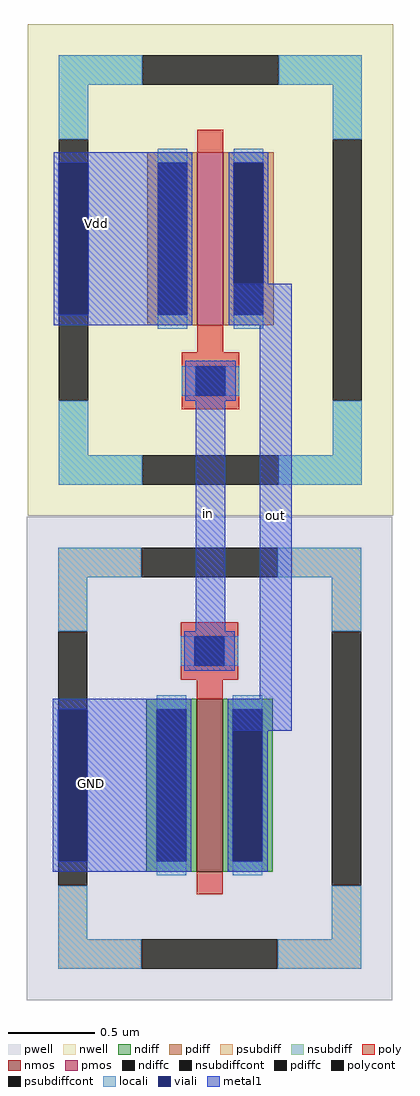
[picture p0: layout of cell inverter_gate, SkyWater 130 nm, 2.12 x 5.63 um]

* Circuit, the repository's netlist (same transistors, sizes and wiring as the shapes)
** sch_path: /home/bagatraya/icpolytron/ringoscilator/inverter_gate.sch
.subckt inverter_gate Vdd in out GND
*.PININFO in:I out:O Vdd:I GND:I
XM1 out in GND GND sky130_fd_pr__nfet_01v8 L=0.15 W=1 nf=1 m=1
XM2 out in Vdd Vdd sky130_fd_pr__pfet_01v8 L=0.15 W=1 nf=1 m=1
.ends
.end

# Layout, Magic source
magic
tech sky130A
magscale 1 2
<< viali >>
rect -18 800 16 976
rect -19 169 15 345
<< metal1 >>
rect -24 976 130 988
rect -24 800 -18 976
rect 16 800 130 976
rect -24 788 130 800
rect 184 788 251 836
rect 140 394 174 742
rect 214 357 251 788
rect -25 345 129 357
rect -25 169 -19 345
rect 15 169 129 345
rect 183 320 251 357
rect -25 157 129 169
use sky130_fd_pr__nfet_01v8_64Z3AY  XM1
transform 1 0 156 0 1 288
box -211 -279 211 279
use sky130_fd_pr__pfet_01v8_LGS3BL  XM2
transform 1 0 157 0 1 852
box -211 -284 211 284
<< labels >>
flabel metal1 25 906 25 906 0 FreeSans 160 0 0 0 Vdd
port 1 nsew
flabel metal1 20 259 20 259 0 FreeSans 160 0 0 0 GND
port 3 nsew
flabel metal1 155 571 155 571 0 FreeSans 160 0 0 0 in
port 5 nsew
flabel metal1 232 568 232 568 0 FreeSans 160 0 0 0 out
port 6 nsew
<< end >>

# cell sky130_fd_pr__nfet_01v8_64Z3AY: kit device sky130_fd_pr__nfet_01v8, w 1.0 l 0.15 m 1 nf 1 diffcov 100 polycov 100 guard 1 glc 1 grc 1 gtc 1 gbc 1 tbcov 100 rlcov 100 topc 1 botc 0 poverlap 0 doverlap 1 lmin 0.15 wmin 0.42 compatible {sky130_fd_pr__nfet_01v8 sky130_fd_pr__nfet_01v8_lvt sky130_fd_bs_flash__special_sonosfet_star sky130_fd_pr__nfet_g5v0d10v5 sky130_fd_pr__nfet_05v0_nvt sky130_fd_pr__nfet_03v3_nvt} full_metal 1 viasrc 100 viadrn 100 viagate 100 viagb 0 viagr 0 viagl 0 viagt 0

# cell sky130_fd_pr__pfet_01v8_LGS3BL: kit device sky130_fd_pr__pfet_01v8, w 1.0 l 0.15 m 1 nf 1 diffcov 100 polycov 100 guard 1 glc 1 grc 1 gtc 1 gbc 1 tbcov 100 rlcov 100 topc 0 botc 1 poverlap 0 doverlap 1 lmin 0.15 wmin 0.42 compatible {sky130_fd_pr__pfet_01v8 sky130_fd_pr__pfet_01v8_lvt sky130_fd_pr__pfet_01v8_hvt sky130_fd_pr__pfet_g5v0d10v5} full_metal 1 viasrc 100 viadrn 100 viagate 100 viagb 0 viagr 0 viagl 0 viagt 0
